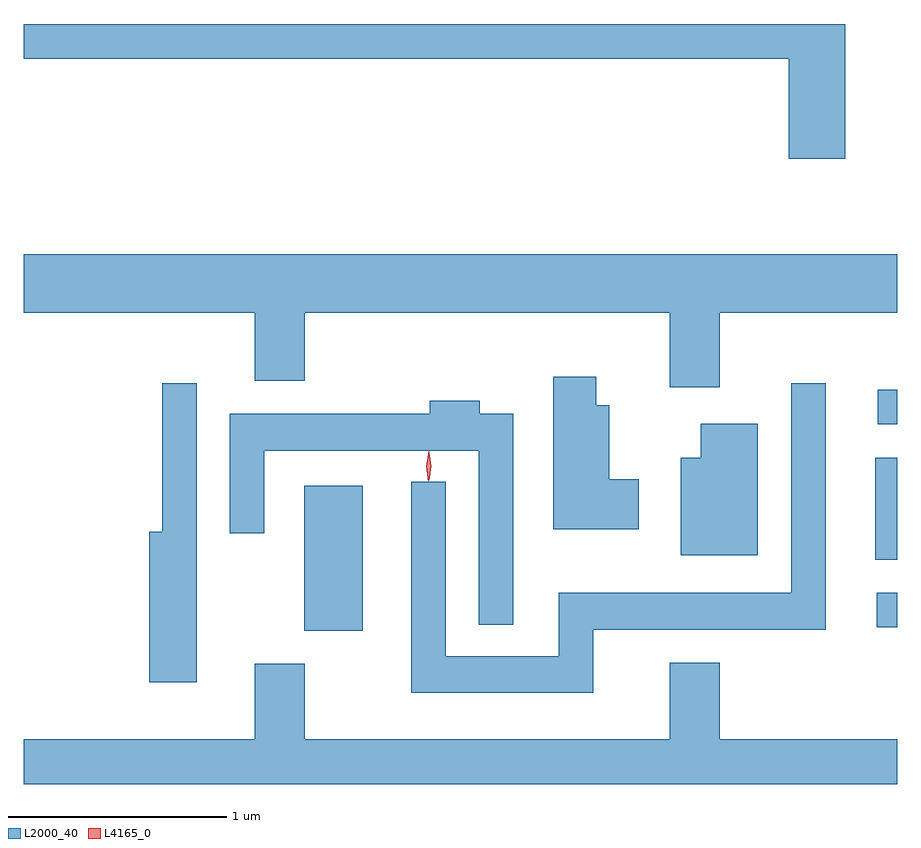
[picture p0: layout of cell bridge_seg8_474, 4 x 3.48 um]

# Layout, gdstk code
import gdstk
lib = gdstk.Library(unit=1e-6, precision=1e-09)
def R(c, l, rs):  # rectangles x0, y0, x1, y1
    for r in rs: c.add(gdstk.rectangle(r[:2], r[2:], *l))
def P(c, l, *ps):  # polygons
    for p in ps: c.add(gdstk.Polygon(p, *l))
L2000_40 = (2000, 40)
L4165_0 = (4165, 0)

bridge_seg8_474 = lib.new_cell('bridge_seg8_474')
R(bridge_seg8_474, L2000_40, [(501.646,1928.201,501.914,1928.864), (504.268,1928.216,504.362,1928.374), (504.261,1928.526,504.362,1928.994), (504.273,1929.146,504.362,1929.304)])
P(bridge_seg8_474, L2000_40, [(504.124,1930.979),(500.362,1930.979),(500.362,1930.821),(503.866,1930.821),(503.866,1930.361),(504.124,1930.361)],
  [(503.549,1929.656),(504.362,1929.656),(504.362,1929.924),(500.362,1929.924),(500.362,1929.656),(501.421,1929.656),(501.421,1929.346),(501.649,1929.346),(501.649,1929.656),(503.321,1929.656),(503.321,1929.316),(503.549,1929.316)],
  [(503.179,1928.894),(503.044,1928.894),(503.044,1929.234),(502.984,1929.234),(502.984,1929.364),(502.786,1929.364),(502.786,1928.666),(503.179,1928.666)],
  [(501.154,1929.333),(500.996,1929.333),(500.996,1928.654),(500.936,1928.654),(500.936,1927.966),(501.154,1927.966)],
  [(502.969,1928.206),(504.034,1928.206),(504.034,1929.333),(503.876,1929.333),(503.876,1928.374),(502.811,1928.374),(502.811,1928.084),(502.294,1928.084),(502.294,1928.883),(502.136,1928.883),(502.136,1927.916),(502.969,1927.916)],
  [(502.604,1929.194),(502.449,1929.194),(502.449,1929.254),(502.221,1929.254),(502.221,1929.194),(501.306,1929.194),(501.306,1928.648),(501.464,1928.648),(501.464,1929.026),(502.446,1929.026),(502.446,1928.228),(502.604,1928.228)],
  [(503.724,1929.149),(503.461,1929.149),(503.461,1928.994),(503.371,1928.994),(503.371,1928.546),(503.724,1928.546)],
  [(504.362,1927.704),(503.549,1927.704),(503.549,1928.054),(503.321,1928.054),(503.321,1927.704),(501.649,1927.704),(501.649,1928.049),(501.421,1928.049),(501.421,1927.704),(500.362,1927.704),(500.362,1927.499),(504.362,1927.499)])
P(bridge_seg8_474, L4165_0, [(502.214,1928.884),(502.206,1928.953),(502.216,1929.021),(502.217,1929.022),(502.218,1929.021),(502.226,1928.953),(502.215,1928.884),(502.215,1928.884)],
  [(502.218,1928.887),(502.218,1928.887),(502.209,1928.953),(502.219,1929.019),(502.22,1929.02),(502.22,1929.019),(502.229,1928.953),(502.219,1928.887)])

lib.write_gds('bridge_seg8_474.gds')
